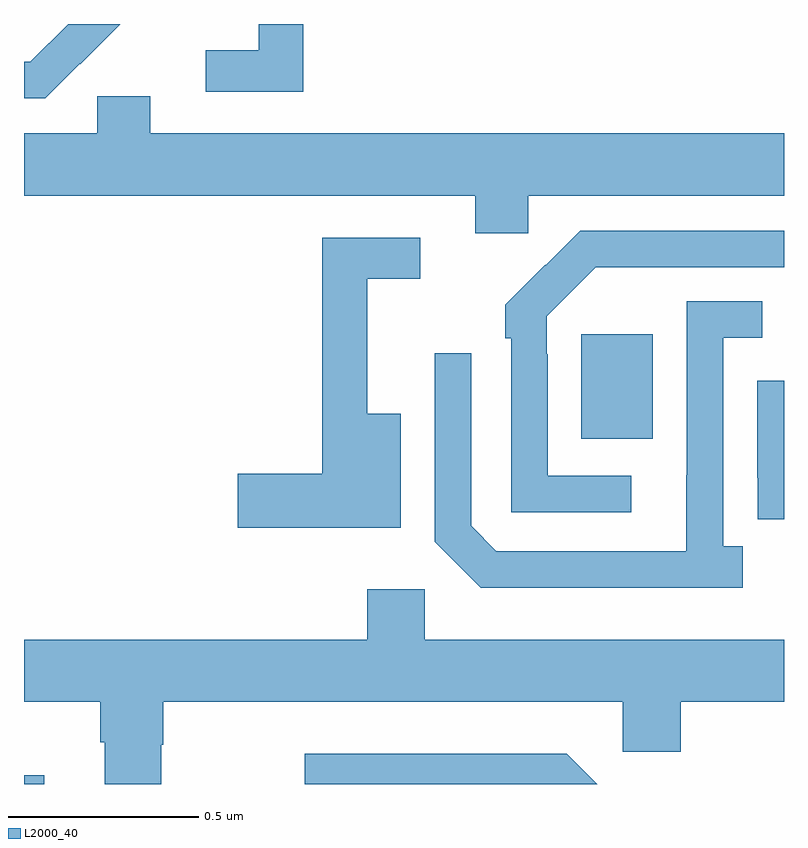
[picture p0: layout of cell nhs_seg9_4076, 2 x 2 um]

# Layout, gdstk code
import gdstk
lib = gdstk.Library(unit=1e-6, precision=1e-09)
def R(c, l, rs):  # rectangles x0, y0, x1, y1
    for r in rs: c.add(gdstk.rectangle(r[:2], r[2:], *l))
def P(c, l, *ps):  # polygons
    for p in ps: c.add(gdstk.Polygon(p, *l))
L2000_40 = (2000, 40)

nhs_seg9_4076 = lib.new_cell('nhs_seg9_4076')
R(nhs_seg9_4076, L2000_40, [(161,1233.5,161.053,1233.523), (162.467,1234.409,162.655,1234.684)])
P(nhs_seg9_4076, L2000_40, [(161.735,1235.5),(161.618,1235.5),(161.618,1235.431),(161.478,1235.431),(161.478,1235.322),(161.735,1235.322)],
  [(161.147,1235.395),(161.148,1235.394),(161.253,1235.499),(161.253,1235.5),(161.116,1235.5),(161.017,1235.401),(161,1235.401),(161,1235.304),(161.056,1235.304)],
  [(162.327,1235.048),(163,1235.048),(163,1235.212),(161.332,1235.212),(161.332,1235.31),(161.193,1235.31),(161.193,1235.212),(161,1235.212),(161,1235.048),(162.188,1235.048),(162.188,1234.95),(162.327,1234.95)],
  [(162.598,1234.311),(162.378,1234.311),(162.378,1234.631),(162.375,1234.631),(162.375,1234.731),(162.504,1234.86),(163,1234.86),(163,1234.956),(162.464,1234.956),(162.373,1234.865),(162.372,1234.866),(162.267,1234.761),(162.267,1234.673),(162.282,1234.673),(162.282,1234.215),(162.598,1234.215)],
  [(161.992,1234.474),(161.903,1234.474),(161.903,1234.83),(162.043,1234.83),(162.043,1234.938),(161.785,1234.938),(161.785,1234.316),(161.562,1234.316),(161.562,1234.174),(161.992,1234.174)],
  [(162.892,1234.126),(162.84,1234.126),(162.84,1234.674),(162.943,1234.674),(162.943,1234.77),(162.744,1234.77),(162.744,1234.313),(162.743,1234.313),(162.743,1234.113),(162.243,1234.113),(162.177,1234.179),(162.177,1234.633),(162.081,1234.633),(162.081,1234.137),(162.202,1234.016),(162.892,1234.016)],
  [(163,1234.561),(162.93,1234.561),(162.93,1234.306),(162.931,1234.306),(162.931,1234.197),(163,1234.197)],
  [(161.361,1233.603),(161.366,1233.603),(161.366,1233.716),(162.576,1233.716),(162.576,1233.585),(162.728,1233.585),(162.728,1233.716),(163,1233.716),(163,1233.88),(162.054,1233.88),(162.054,1234.012),(161.903,1234.012),(161.903,1233.88),(161,1233.88),(161,1233.716),(161.201,1233.716),(161.201,1233.61),(161.213,1233.61),(161.213,1233.5),(161.361,1233.5)],
  [(162.428,1233.58),(161.739,1233.58),(161.739,1233.5),(162.508,1233.5)])

lib.write_gds('nhs_seg9_4076.gds')
